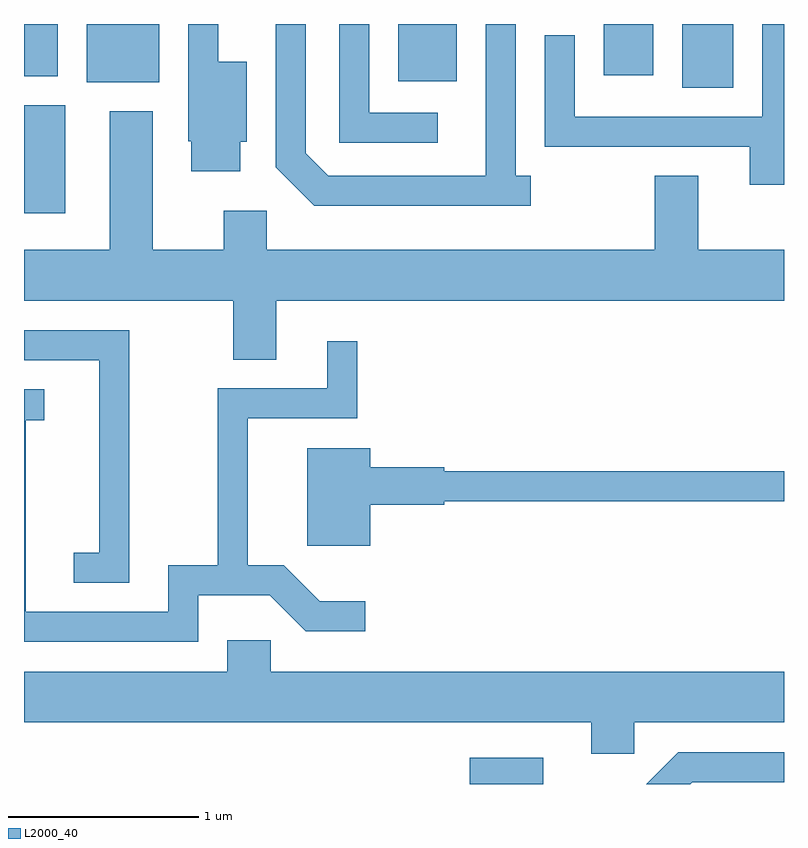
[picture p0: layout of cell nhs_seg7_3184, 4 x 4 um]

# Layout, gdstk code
import gdstk
lib = gdstk.Library(unit=1e-6, precision=1e-09)
def R(c, l, rs):  # rectangles x0, y0, x1, y1
    for r in rs: c.add(gdstk.rectangle(r[:2], r[2:], *l))
def P(c, l, *ps):  # polygons
    for p in ps: c.add(gdstk.Polygon(p, *l))
L2000_40 = (2000, 40)

nhs_seg7_3184 = lib.new_cell('nhs_seg7_3184')
R(nhs_seg7_3184, L2000_40, [(285.956,1676.252,286.343,1676.389), (283.611,1679.256,283.829,1679.824), (287.076,1679.916,287.344,1680.252), (283.941,1679.946,284.324,1680.252), (285.581,1679.951,285.889,1680.252), (283.611,1679.976,283.789,1680.252), (286.661,1679.981,286.924,1680.252)])
P(nhs_seg7_3184, L2000_40, [(285.788,1679.784),(285.429,1679.784),(285.429,1680.252),(285.271,1680.252),(285.271,1679.626),(285.788,1679.626)],
  [(284.749,1679.631),(284.784,1679.631),(284.784,1680.054),(284.634,1680.054),(284.634,1680.252),(284.476,1680.252),(284.476,1679.635),(284.491,1679.635),(284.491,1679.476),(284.749,1679.476)],
  [(286.278,1679.454),(286.199,1679.454),(286.199,1680.252),(286.041,1680.252),(286.041,1679.454),(285.212,1679.454),(285.094,1679.572),(285.094,1680.252),(284.936,1680.252),(284.936,1679.499),(285.139,1679.296),(286.278,1679.296)],
  [(287.611,1680.252),(287.496,1680.252),(287.496,1679.764),(286.509,1679.764),(286.509,1680.193),(286.351,1680.193),(286.351,1679.606),(287.431,1679.606),(287.431,1679.406),(287.611,1679.406)],
  [(284.939,1678.796),(287.611,1678.796),(287.611,1679.064),(287.159,1679.064),(287.159,1679.454),(286.931,1679.454),(286.931,1679.064),(284.889,1679.064),(284.889,1679.269),(284.661,1679.269),(284.661,1679.064),(284.289,1679.064),(284.289,1679.794),(284.061,1679.794),(284.061,1679.064),(283.611,1679.064),(283.611,1678.796),(284.711,1678.796),(284.711,1678.486),(284.939,1678.486)],
  [(284.164,1678.639),(283.611,1678.639),(283.611,1678.481),(284.006,1678.481),(284.006,1677.469),(283.873,1677.469),(283.873,1677.311),(284.164,1677.311)],
  [(284.529,1677.246),(284.904,1677.246),(285.094,1677.056),(285.408,1677.056),(285.408,1677.214),(285.167,1677.214),(284.977,1677.404),(284.789,1677.404),(284.789,1678.176),(285.364,1678.176),(285.364,1678.583),(285.206,1678.583),(285.206,1678.334),(284.631,1678.334),(284.631,1677.404),(284.371,1677.404),(284.371,1677.159),(283.619,1677.159),(283.619,1678.166),(283.718,1678.166),(283.718,1678.329),(283.611,1678.329),(283.611,1677.001),(284.529,1677.001)],
  [(285.434,1677.721),(285.824,1677.721),(285.824,1677.741),(287.611,1677.741),(287.611,1677.899),(285.824,1677.899),(285.824,1677.919),(285.434,1677.919),(285.434,1678.019),(285.101,1678.019),(285.101,1677.506),(285.434,1677.506)],
  [(286.824,1676.576),(287.611,1676.576),(287.611,1676.844),(284.909,1676.844),(284.909,1677.009),(284.681,1677.009),(284.681,1676.844),(283.611,1676.844),(283.611,1676.576),(286.596,1676.576),(286.596,1676.411),(286.824,1676.411)],
  [(287.127,1676.261),(287.611,1676.261),(287.611,1676.419),(287.054,1676.419),(286.886,1676.252),(287.118,1676.252)])

lib.write_gds('nhs_seg7_3184.gds')
